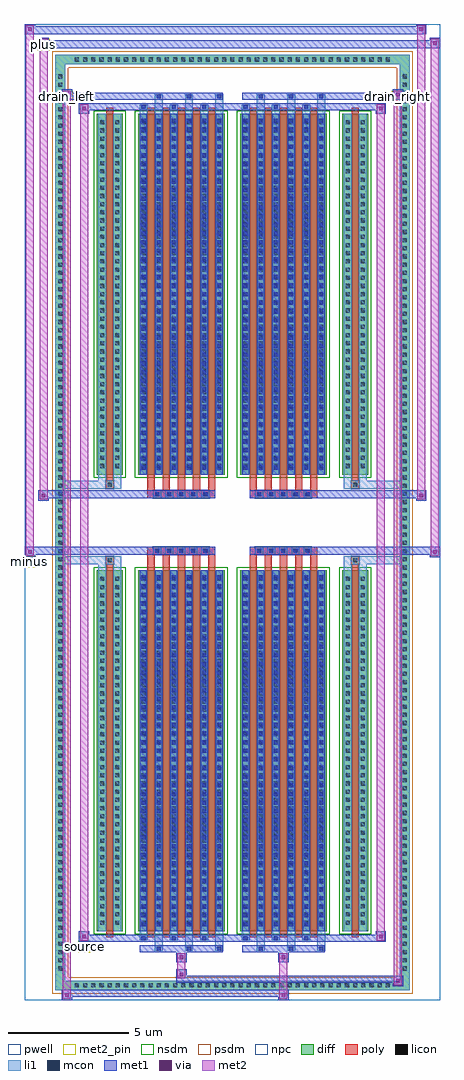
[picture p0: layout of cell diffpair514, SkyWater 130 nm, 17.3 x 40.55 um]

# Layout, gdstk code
import gdstk
lib = gdstk.Library(unit=1e-6, precision=5e-09)
def R(c, l, rs):  # rectangles x0, y0, x1, y1
    for r in rs: c.add(gdstk.rectangle(r[:2], r[2:], *l))
def A(c, l, x, y, w, h, nx, ny, dx, dy):  # array of equal rectangles
    R(c, l, [(x+i*dx, y+j*dy, x+i*dx+w, y+j*dy+h) for i in range(nx) for j in range(ny)])
def P(c, l, *ps):  # polygons
    for p in ps: c.add(gdstk.Polygon(p, *l))
pwell = (64, 44)
diff = (65, 20)
poly = (66, 20)
licon = (66, 44)
li1 = (67, 20)
mcon = (67, 44)
met1 = (68, 20)
via = (68, 44)
met2_pin = (69, 16)
met2 = (69, 20)
nsdm = (93, 44)
psdm = (94, 20)
npc = (95, 20)

diffpair514 = lib.new_cell('diffpair514')
R(diffpair514, pwell, [(-8.63,-19.84,8.63,20.71), (-5.95,-18.03,-0.01,-0.805), (0.01,-18.03,5.95,-0.805), (-5.95,0.805,-0.01,18.03), (0.01,0.805,5.95,18.03)])
A(diffpair514, diff, -6.665, -19.44, 0.41, 0.41, 39, 2, 0.34, 38.47)
A(diffpair514, diff, -7.36, -18.735, 0.41, 0.41, 1, 110, 0, 0.34)
A(diffpair514, diff, 6.95, -18.735, 0.41, 0.41, 1, 110, 0, 0.34)
R(diffpair514, diff, [(-6.665,-19.44,6.665,-19.03), (-7.36,-18.735,-6.95,18.735), (6.95,-18.735,7.36,18.735), (-5.64,-16.985,-4.56,-1.985), (-3.92,-16.985,-0.32,-1.985), (0.32,-16.985,3.92,-1.985), (4.56,-16.985,5.64,-1.985), (-5.64,1.985,-4.56,16.985), (-3.92,1.985,-0.32,16.985), (0.32,1.985,3.92,16.985), (4.56,1.985,5.64,16.985), (-6.665,19.03,6.665,19.44)])
P(diffpair514, diff, [(7.36,19.44),(-7.36,19.44),(-7.36,-19.03),(-6.95,-19.03),(-6.95,19.03),(6.95,19.03),(6.95,-19.03),(-6.95,-19.03),(-7.36,-19.03),(-7.36,-19.44),(7.36,-19.44)])
A(diffpair514, poly, -3.53, -17.235, 0.3, 15.5, 5, 2, 0.63, 18.97)
A(diffpair514, poly, 0.71, -17.235, 0.3, 15.5, 5, 2, 0.63, 18.97)
A(diffpair514, poly, -3.53, -1.735, 0.3, 0.4, 5, 2, 0.63, 3.07)
A(diffpair514, poly, 0.71, -1.735, 0.3, 0.4, 5, 2, 0.63, 3.07)
A(diffpair514, poly, -3.285, -1.335, 0.33, 0.33, 5, 2, 0.5, 2.34)
A(diffpair514, poly, 0.955, -1.335, 0.33, 0.33, 5, 2, 0.5, 2.34)
R(diffpair514, poly, [(-5.25,-17.235,-4.95,-1.735), (4.95,-17.235,5.25,-1.735), (-5.265,-1.735,-4.935,-1.405), (-5.265,-1.735,-4.935,-1.405), (4.935,-1.735,5.265,-1.405), (4.935,-1.735,5.265,-1.405), (-3.53,-1.335,-0.71,-1.005), (0.71,-1.335,3.53,-1.005), (-3.53,1.005,-0.71,1.335), (0.71,1.005,3.53,1.335), (-5.265,1.405,-4.935,1.735), (-5.265,1.405,-4.935,1.735), (4.935,1.405,5.265,1.735), (4.935,1.405,5.265,1.735), (-5.25,1.735,-4.95,17.235), (4.95,1.735,5.25,17.235)])
A(diffpair514, licon, -6.545, -19.32, 0.17, 0.17, 39, 2, 0.34, 38.47)
A(diffpair514, licon, -7.24, -18.615, 0.17, 0.17, 1, 110, 0, 0.34)
A(diffpair514, licon, 7.07, -18.615, 0.17, 0.17, 1, 110, 0, 0.34)
A(diffpair514, licon, -5.5, -16.71, 0.17, 0.17, 1, 43, 0, 0.34)
A(diffpair514, licon, -4.87, -16.71, 0.17, 0.17, 1, 43, 0, 0.34)
A(diffpair514, licon, -3.78, -16.71, 0.17, 0.17, 6, 43, 0.63, 0.34)
A(diffpair514, licon, 0.46, -16.71, 0.17, 0.17, 6, 43, 0.63, 0.34)
A(diffpair514, licon, 4.7, -16.71, 0.17, 0.17, 1, 43, 0, 0.34)
A(diffpair514, licon, 5.33, -16.71, 0.17, 0.17, 1, 43, 0, 0.34)
A(diffpair514, licon, -3.205, -1.255, 0.17, 0.17, 5, 2, 0.5, 2.34)
A(diffpair514, licon, 1.035, -1.255, 0.17, 0.17, 5, 2, 0.5, 2.34)
A(diffpair514, licon, -5.5, 2.26, 0.17, 0.17, 1, 43, 0, 0.34)
A(diffpair514, licon, -4.87, 2.26, 0.17, 0.17, 1, 43, 0, 0.34)
A(diffpair514, licon, -3.78, 2.26, 0.17, 0.17, 6, 43, 0.63, 0.34)
A(diffpair514, licon, 0.46, 2.26, 0.17, 0.17, 6, 43, 0.63, 0.34)
A(diffpair514, licon, 4.7, 2.26, 0.17, 0.17, 1, 43, 0, 0.34)
A(diffpair514, licon, 5.33, 2.26, 0.17, 0.17, 1, 43, 0, 0.34)
R(diffpair514, licon, [(-5.185,-1.655,-5.015,-1.485), (5.015,-1.655,5.185,-1.485), (-5.185,1.485,-5.015,1.655), (5.015,1.485,5.185,1.655)])
A(diffpair514, li1, -6.625, -19.4, 0.33, 0.33, 39, 2, 0.34, 38.47)
A(diffpair514, li1, -7.32, -18.695, 0.33, 0.33, 1, 110, 0, 0.34)
A(diffpair514, li1, 6.99, -18.695, 0.33, 0.33, 1, 110, 0, 0.34)
A(diffpair514, li1, -3.23, -17.79, 0.33, 0.805, 3, 2, 1.26, 34.775)
A(diffpair514, li1, -3.15, -17.79, 0.17, 0.17, 3, 2, 1.26, 35.41)
A(diffpair514, li1, 1.01, -17.79, 0.33, 0.805, 3, 2, 1.26, 34.775)
A(diffpair514, li1, 1.09, -17.79, 0.17, 0.17, 3, 2, 1.26, 35.41)
A(diffpair514, li1, -3.86, -17.36, 0.33, 0.375, 3, 2, 1.26, 34.345)
A(diffpair514, li1, -3.78, -17.36, 0.17, 0.17, 3, 2, 1.26, 34.55)
A(diffpair514, li1, 0.38, -17.36, 0.33, 0.375, 3, 2, 1.26, 34.345)
A(diffpair514, li1, 0.46, -17.36, 0.17, 0.17, 3, 2, 1.26, 34.55)
A(diffpair514, li1, -3.86, -16.985, 0.33, 15, 6, 2, 0.63, 18.97)
A(diffpair514, li1, 0.38, -16.985, 0.33, 15, 6, 2, 0.63, 18.97)
A(diffpair514, li1, -5.58, -16.79, 0.33, 0.33, 1, 43, 0, 0.34)
A(diffpair514, li1, -4.95, -16.79, 0.33, 0.33, 1, 43, 0, 0.34)
A(diffpair514, li1, -3.86, -16.79, 0.33, 0.33, 6, 43, 0.63, 0.34)
A(diffpair514, li1, 0.38, -16.79, 0.33, 0.33, 6, 43, 0.63, 0.34)
A(diffpair514, li1, 4.62, -16.79, 0.33, 0.33, 1, 43, 0, 0.34)
A(diffpair514, li1, 5.25, -16.79, 0.33, 0.33, 1, 43, 0, 0.34)
A(diffpair514, li1, -3.78, -16.77, 0.17, 0.17, 6, 41, 0.63, 0.36)
A(diffpair514, li1, -3.78, -16.77, 0.17, 14.57, 6, 2, 0.63, 18.97)
A(diffpair514, li1, 0.46, -16.77, 0.17, 0.17, 6, 41, 0.63, 0.36)
A(diffpair514, li1, 0.46, -16.77, 0.17, 14.57, 6, 2, 0.63, 18.97)
A(diffpair514, li1, -3.285, -1.335, 0.33, 0.33, 5, 2, 0.5, 2.34)
A(diffpair514, li1, 0.955, -1.335, 0.33, 0.33, 5, 2, 0.5, 2.34)
A(diffpair514, li1, -5.58, 2.18, 0.33, 0.33, 1, 43, 0, 0.34)
A(diffpair514, li1, -4.95, 2.18, 0.33, 0.33, 1, 43, 0, 0.34)
A(diffpair514, li1, -3.86, 2.18, 0.33, 0.33, 6, 43, 0.63, 0.34)
A(diffpair514, li1, 0.38, 2.18, 0.33, 0.33, 6, 43, 0.63, 0.34)
A(diffpair514, li1, 4.62, 2.18, 0.33, 0.33, 1, 43, 0, 0.34)
A(diffpair514, li1, 5.25, 2.18, 0.33, 0.33, 1, 43, 0, 0.34)
A(diffpair514, li1, -3.78, 2.2, 0.17, 0.17, 6, 41, 0.63, 0.36)
A(diffpair514, li1, 0.46, 2.2, 0.17, 0.17, 6, 41, 0.63, 0.36)
R(diffpair514, li1, [(-7.36,-19.44,-6.95,-19.03), (-7.36,-19.44,-6.95,-19.03), (-6.95,-19.44,6.95,-19.03), (6.95,-19.44,7.36,-19.03), (6.95,-19.44,7.36,-19.03), (-7.36,-19.03,-6.95,19.03), (6.95,-19.03,7.36,19.03), (-5.58,-16.985,-5.25,-1.985), (-4.95,-16.985,-4.62,-1.985), (4.62,-16.985,4.95,-1.985), (5.25,-16.985,5.58,-1.985), (-5.58,-1.985,-5.25,-1.405), (-4.95,-1.985,-4.62,-1.405), (4.62,-1.985,4.95,-1.405), (5.25,-1.985,5.58,-1.405), (-7.36,-1.735,-5.265,-1.405), (-5.58,-1.735,-5.265,-1.405), (-5.265,-1.735,-4.935,-1.405), (-4.935,-1.735,-4.62,-1.405), (4.62,-1.735,4.935,-1.405), (4.935,-1.735,5.265,-1.405), (4.935,-1.735,7.36,-1.405), (5.265,-1.735,5.58,-1.405), (-7.36,1.405,-5.265,1.735), (-5.58,1.405,-5.265,1.735), (-5.58,1.405,-5.25,1.985), (-5.265,1.405,-4.935,1.735), (-4.95,1.405,-4.62,1.985), (-4.935,1.405,-4.62,1.735), (4.62,1.405,4.935,1.735), (4.62,1.405,4.95,1.985), (4.935,1.405,5.265,1.735), (4.935,1.405,7.36,1.735), (5.25,1.405,5.58,1.985), (5.265,1.405,5.58,1.735), (-5.58,1.985,-5.25,16.985), (-4.95,1.985,-4.62,16.985), (4.62,1.985,4.95,16.985), (5.25,1.985,5.58,16.985), (-7.36,19.03,-6.95,19.44), (-7.36,19.03,-6.95,19.44), (-6.95,19.03,6.95,19.44), (6.95,19.03,7.36,19.44), (6.95,19.03,7.36,19.44)])
A(diffpair514, mcon, -3.15, -17.79, 0.17, 0.17, 3, 2, 1.26, 35.41)
A(diffpair514, mcon, 1.09, -17.79, 0.17, 0.17, 3, 2, 1.26, 35.41)
A(diffpair514, mcon, -3.78, -17.36, 0.17, 0.17, 3, 2, 1.26, 34.55)
A(diffpair514, mcon, 0.46, -17.36, 0.17, 0.17, 3, 2, 1.26, 34.55)
A(diffpair514, mcon, -3.78, -16.77, 0.17, 0.17, 6, 41, 0.63, 0.36)
A(diffpair514, mcon, 0.46, -16.77, 0.17, 0.17, 6, 41, 0.63, 0.36)
A(diffpair514, mcon, -3.205, -1.255, 0.17, 0.17, 5, 2, 0.5, 2.34)
A(diffpair514, mcon, 1.035, -1.255, 0.17, 0.17, 5, 2, 0.5, 2.34)
A(diffpair514, mcon, -3.78, 2.2, 0.17, 0.17, 6, 41, 0.63, 0.36)
A(diffpair514, mcon, 0.46, 2.2, 0.17, 0.17, 6, 41, 0.63, 0.36)
A(diffpair514, met1, -3.21, -17.85, 0.29, 0.29, 3, 2, 1.26, 35.41)
A(diffpair514, met1, 1.03, -17.85, 0.29, 0.29, 3, 2, 1.26, 35.41)
A(diffpair514, met1, -3.84, -17.42, 0.29, 0.29, 3, 2, 1.26, 34.55)
A(diffpair514, met1, 0.4, -17.42, 0.29, 0.29, 3, 2, 1.26, 34.55)
A(diffpair514, met1, -3.84, -16.985, 0.29, 15, 6, 2, 0.63, 18.97)
A(diffpair514, met1, 0.4, -16.985, 0.29, 15, 6, 2, 0.63, 18.97)
A(diffpair514, met1, -3.84, -16.83, 0.29, 0.29, 6, 41, 0.63, 0.36)
A(diffpair514, met1, 0.4, -16.83, 0.29, 0.29, 6, 41, 0.63, 0.36)
A(diffpair514, met1, -3.265, -1.315, 0.29, 0.29, 5, 2, 0.5, 2.34)
A(diffpair514, met1, 0.975, -1.315, 0.29, 0.29, 5, 2, 0.5, 2.34)
A(diffpair514, met1, -3.84, 2.14, 0.29, 0.29, 6, 41, 0.63, 0.36)
A(diffpair514, met1, 0.4, 2.14, 0.29, 0.29, 6, 41, 0.63, 0.36)
R(diffpair514, met1, [(-7.09,-19.84,-6.66,-19.41), (1.905,-19.84,2.335,-19.41), (-7.09,-19.7,2.335,-19.41), (6.66,-19.27,7.09,-18.84), (-2.335,-19.13,7.09,-18.84), (-2.335,-18.99,-1.905,-18.56), (-2.335,-18.28,-1.905,-17.85), (1.905,-18.28,2.335,-17.85), (-3.84,-17.85,-0.4,-17.56), (0.4,-17.85,3.84,-17.56), (-6.38,-17.42,-5.95,-16.99), (-6.38,-17.42,-3.84,-17.13), (-3.84,-17.42,-0.4,-17.13), (-0.4,-17.42,0.4,-17.13), (0.4,-17.42,3.84,-17.13), (3.84,-17.42,6.38,-17.13), (5.95,-17.42,6.38,-16.99), (-8.63,-1.435,-8.2,-1.005), (8.2,-1.435,8.63,-1.005), (-8.63,-1.335,-0.71,-1.005), (-3.53,-1.335,-0.71,-1.005), (0.71,-1.335,3.53,-1.005), (0.71,-1.335,8.63,-1.005), (-8.06,0.905,-7.63,1.335), (7.63,0.905,8.06,1.335), (-8.06,1.005,-3.53,1.335), (-3.53,1.005,-0.71,1.335), (0.71,1.005,3.53,1.335), (3.53,1.005,8.06,1.335), (-6.38,16.99,-5.95,17.42), (5.95,16.99,6.38,17.42), (-6.38,17.13,-3.84,17.42), (-3.84,17.13,-0.4,17.42), (-0.4,17.13,0.4,17.42), (0.4,17.13,3.84,17.42), (3.84,17.13,6.38,17.42), (-7.09,17.56,-6.66,17.99), (-7.09,17.56,-3.84,17.85), (-3.84,17.56,-0.4,17.85), (0.4,17.56,3.84,17.85), (3.84,17.56,7.09,17.85), (6.66,17.56,7.09,17.99), (-8.06,19.71,-7.63,20.14), (-8.06,19.71,-5.95,20.04), (-5.95,19.71,5.95,20.04), (5.95,19.71,8.63,20.04), (8.2,19.71,8.63,20.14), (-8.63,20.28,-8.2,20.71), (-8.63,20.28,-5.95,20.61), (-5.95,20.28,5.95,20.61), (5.95,20.28,8.06,20.61), (7.63,20.28,8.06,20.71)])
R(diffpair514, via, [(-6.95,-19.7,-6.8,-19.55), (2.045,-19.7,2.195,-19.55), (6.8,-19.13,6.95,-18.98), (-2.195,-18.85,-2.045,-18.7), (-2.195,-18.14,-2.045,-17.99), (2.045,-18.14,2.195,-17.99), (-6.24,-17.28,-6.09,-17.13), (6.09,-17.28,6.24,-17.13), (-8.49,-1.295,-8.34,-1.145), (8.34,-1.295,8.49,-1.145), (-7.92,1.045,-7.77,1.195), (7.77,1.045,7.92,1.195), (-6.24,17.13,-6.09,17.28), (6.09,17.13,6.24,17.28), (-6.95,17.7,-6.8,17.85), (6.8,17.7,6.95,17.85), (-7.92,19.85,-7.77,20), (8.34,19.85,8.49,20), (-8.49,20.42,-8.34,20.57), (7.77,20.42,7.92,20.57)])
R(diffpair514, met2_pin, [(-6.415,-17.87,-5.915,-17.37), (-8.665,-1.885,-8.165,-1.385), (-7.125,17.44,-6.625,17.94), (6.625,17.44,7.125,17.94), (-8.095,19.59,-7.595,20.09)])
R(diffpair514, met2, [(-7.04,-19.79,-6.71,-19.46), (-7.04,-19.79,-6.71,17.94), (1.955,-19.79,2.285,-19.46), (1.955,-19.46,2.285,-18.23), (6.71,-19.22,7.04,-18.89), (6.71,-19.22,7.04,17.94), (-2.285,-18.94,-1.955,-18.61), (-2.285,-18.61,-1.955,-18.23), (-2.285,-18.23,-1.955,-17.9), (1.955,-18.23,2.285,-17.9), (-6.33,-17.37,-6,-17.04), (-6.33,-17.37,-6,17.37), (6,-17.37,6.33,-17.04), (6,-17.37,6.33,17.37), (-8.58,-1.385,-8.25,-1.055), (-8.58,-1.385,-8.25,20.66), (8.25,-1.385,8.58,-1.055), (8.25,-1.385,8.58,20.09), (-8.01,0.955,-7.68,1.285), (-8.01,0.955,-7.68,20.09), (7.68,0.955,8.01,1.285), (7.68,0.955,8.01,20.66), (-6.33,17.04,-6,17.37), (6,17.04,6.33,17.37), (-7.04,17.61,-6.71,17.94), (6.71,17.61,7.04,17.94), (-8.01,19.76,-7.68,20.09), (8.25,19.76,8.58,20.09), (-8.58,20.33,-8.25,20.66), (7.68,20.33,8.01,20.66)])
P(diffpair514, met2, [(8.58,-1.385),(8.58,-1.385),(8.58,-1.055),(8.58,-1.055)],
  [(8.58,19.76),(8.58,19.76),(8.58,20.09),(8.58,20.09)],
  [(-8.25,-1.385),(-8.25,-1.385),(-8.25,-1.055),(-8.25,-1.055)],
  [(-8.25,20.33),(-8.25,20.33),(-8.25,20.66),(-8.25,20.66)],
  [(8.01,0.955),(8.01,0.955),(8.01,1.285),(8.01,1.285)],
  [(8.01,20.33),(8.01,20.33),(8.01,20.66),(8.01,20.66)],
  [(-7.68,0.955),(-7.68,0.955),(-7.68,1.285),(-7.68,1.285)],
  [(-7.68,19.76),(-7.68,19.76),(-7.68,20.09),(-7.68,20.09)],
  [(-6.71,-19.79),(-6.71,-19.79),(-6.71,-19.46),(-6.71,-19.46)],
  [(-6.71,17.61),(-6.71,17.61),(-6.71,17.94),(-6.71,17.94)],
  [(7.04,-19.22),(7.04,-19.22),(7.04,-18.89),(7.04,-18.89)],
  [(7.04,17.61),(7.04,17.61),(7.04,17.94),(7.04,17.94)],
  [(-6,-17.37),(-6,-17.37),(-6,-17.04),(-6,-17.04)],
  [(-6,17.04),(-6,17.04),(-6,17.37),(-6,17.37)],
  [(6.33,-17.37),(6.33,-17.37),(6.33,-17.04),(6.33,-17.04)],
  [(6.33,17.04),(6.33,17.04),(6.33,17.37),(6.33,17.37)])
R(diffpair514, nsdm, [(-5.77,-17.115,-4.43,-1.855), (-4.05,-17.115,-0.19,-1.855), (0.19,-17.115,4.05,-1.855), (4.43,-17.115,5.77,-1.855), (-5.77,1.855,-4.43,17.115), (-4.05,1.855,-0.19,17.115), (0.19,1.855,4.05,17.115), (4.43,1.855,5.77,17.115)])
P(diffpair514, psdm, [(7.49,19.57),(-7.49,19.57),(-7.49,-18.9),(-6.82,-18.9),(-6.82,18.9),(6.82,18.9),(6.82,-18.9),(-6.82,-18.9),(-7.49,-18.9),(-7.49,-19.57),(7.49,-19.57)])
A(diffpair514, npc, -3.305, -1.355, 0.37, 0.37, 5, 2, 0.5, 2.34)
A(diffpair514, npc, 0.935, -1.355, 0.37, 0.37, 5, 2, 0.5, 2.34)
R(diffpair514, npc, [(-5.285,-1.755,-4.915,-1.385), (4.915,-1.755,5.285,-1.385), (-3.305,-1.355,-2.435,-0.985), (-3.305,-1.355,-2.435,-0.985), (-2.805,-1.355,-1.935,-0.985), (-2.805,-1.355,-1.935,-0.985), (-2.305,-1.355,-1.435,-0.985), (-2.305,-1.355,-1.435,-0.985), (-1.805,-1.355,-0.935,-0.985), (-1.805,-1.355,-0.935,-0.985), (0.935,-1.355,1.805,-0.985), (0.935,-1.355,1.805,-0.985), (1.435,-1.355,2.305,-0.985), (1.435,-1.355,2.305,-0.985), (1.935,-1.355,2.805,-0.985), (1.935,-1.355,2.805,-0.985), (2.435,-1.355,3.305,-0.985), (2.435,-1.355,3.305,-0.985), (-3.305,0.985,-2.435,1.355), (-3.305,0.985,-2.435,1.355), (-2.805,0.985,-1.935,1.355), (-2.805,0.985,-1.935,1.355), (-2.305,0.985,-1.435,1.355), (-2.305,0.985,-1.435,1.355), (-1.805,0.985,-0.935,1.355), (-1.805,0.985,-0.935,1.355), (0.935,0.985,1.805,1.355), (0.935,0.985,1.805,1.355), (1.435,0.985,2.305,1.355), (1.435,0.985,2.305,1.355), (1.935,0.985,2.805,1.355), (1.935,0.985,2.805,1.355), (2.435,0.985,3.305,1.355), (2.435,0.985,3.305,1.355), (-5.285,1.385,-4.915,1.755), (4.915,1.385,5.285,1.755)])
diffpair514.add(gdstk.Label('minus', (-8.415,-1.635), layer=69, texttype=5))
diffpair514.add(gdstk.Label('drain_right', (6.875,17.69), layer=69, texttype=5))
diffpair514.add(gdstk.Label('drain_left', (-6.875,17.69), layer=69, texttype=5))
diffpair514.add(gdstk.Label('source', (-6.165,-17.62), layer=69, texttype=5))
diffpair514.add(gdstk.Label('plus', (-7.845,19.84), layer=69, texttype=5))

lib.write_gds('diffpair514.gds')
